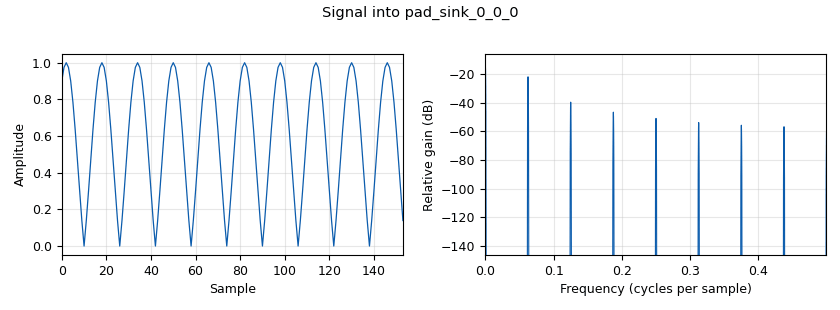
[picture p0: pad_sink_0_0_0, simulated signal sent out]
options:
  parameters:
    author: 'Done by: Homero Ortega Boada. Universidad Industrial de Santander'
    category: '''[comdiguis]'''
    copyright: Grupo RadioGis Universidad Industrial de Santander
    description: 'It is the float version of Nyquist Filter in a proof period. Parameters: Sps - the number of samples per simbol the filter will produce; ntaps- the number of components in the impulse response'
    generate_options: hb
    id: b_Nyquis_Filter_ff
    output_language: python
    title: b_Nyquist_Filter_ff
  states: {}

blocks:
- name: Amp
  id: variable
  parameters:
    value: numpy.amax(h)
  states: {}
- name: h
  id: variable
  parameters:
    value: numpy.sinc(n/Sps)
  states: {}
- name: n
  id: variable
  parameters:
    value: numpy.linspace(ntaps_min,ntaps_max,ntaps)
  states: {}
- name: ntaps_max
  id: variable
  parameters:
    value: abs(ntaps_min)-1+math.ceil(ntaps/2.-abs(ntaps_min))
  states: {}
- name: ntaps_min
  id: variable
  parameters:
    value: '-int(ntaps/2)'
  states: {}
- name: Ganancia
  id: parameter
  parameters:
    label: Ganancia
    type: eng_float
    value: '1.'
  states: {}
- name: Interpolation
  id: parameter
  parameters:
    label: Interpolation
    type: intx
    value: '1'
  states: {state: disabled}
- name: Sps
  id: parameter
  parameters:
    type: intx
    value: '8'
  states: {}
- name: blocks_multiply_const_vxx_0
  id: blocks_multiply_const_vxx
  parameters:
    const: Ganancia
    type: float
  states: {}
- name: blocks_vector_source_x_0_0
  id: blocks_vector_source_x
  parameters:
    repeat: 'True'
    type: float
    vector: h
  states: {}
- name: import_0
  id: import
  parameters:
    imports: import numpy
  states: {}
- name: import_0_0
  id: import
  parameters:
    imports: import math
  states: {}
- name: interp_fir_filter_xxx_0_0
  id: interp_fir_filter_xxx
  parameters:
    interp: Sps
    taps: h/Amp
    type: fff
  states: {}
- name: ntaps
  id: parameter
  parameters:
    type: intx
    value: '16'
  states: {}
- name: pad_sink_0
  id: pad_sink
  parameters:
    label: out
    type: float
  states: {}
- name: pad_sink_0_0_0
  id: pad_sink
  parameters:
    label: h[n]
    optional: 'True'
    type: float
  states: {}
- name: pad_source_0
  id: pad_source
  parameters:
    label: in
    type: float
  states: {}

connections:
- [blocks_multiply_const_vxx_0, '0', interp_fir_filter_xxx_0_0, '0']
- [blocks_vector_source_x_0_0, '0', pad_sink_0_0_0, '0']
- [interp_fir_filter_xxx_0_0, '0', pad_sink_0, '0']
- [pad_source_0, '0', blocks_multiply_const_vxx_0, '0']

metadata:
  file_format: 1
